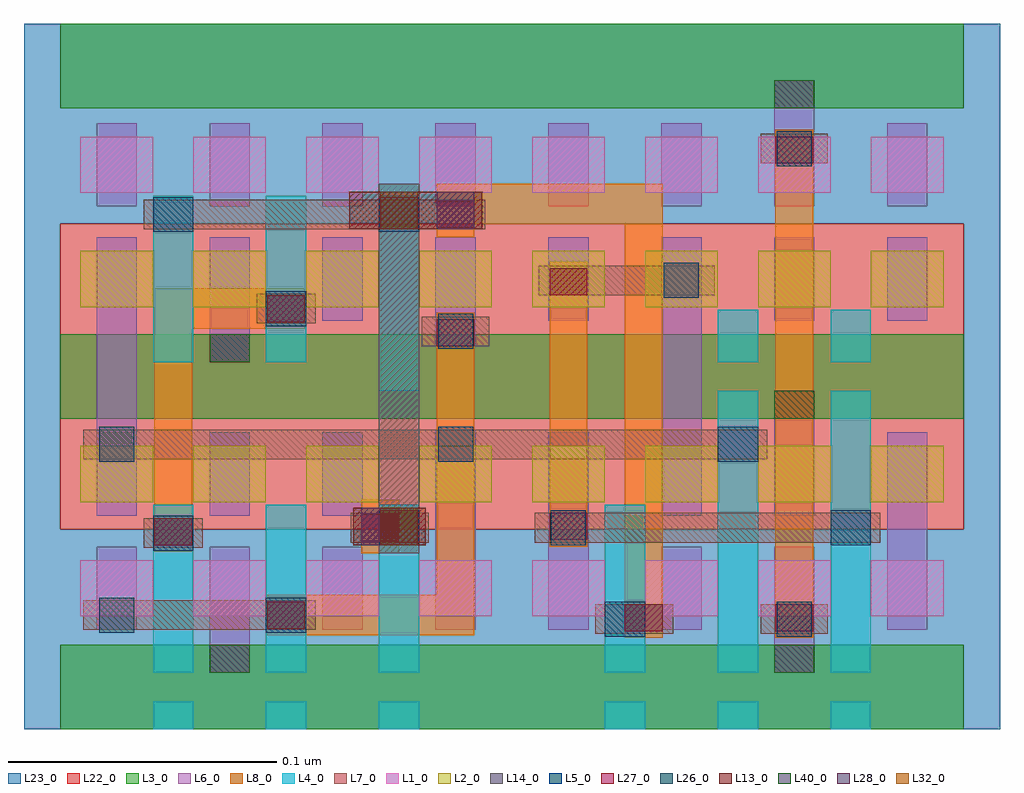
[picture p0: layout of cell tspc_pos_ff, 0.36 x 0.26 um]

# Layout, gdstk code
import gdstk
lib = gdstk.Library(unit=1e-6, precision=2.5e-10)
def R(c, l, rs):  # rectangles x0, y0, x1, y1
    for r in rs: c.add(gdstk.rectangle(r[:2], r[2:], *l))
def A(c, l, x, y, w, h, nx, ny, dx, dy):  # array of equal rectangles
    R(c, l, [(x+i*dx, y+j*dy, x+i*dx+w, y+j*dy+h) for i in range(nx) for j in range(ny)])
def P(c, l, *ps):  # polygons
    for p in ps: c.add(gdstk.Polygon(p, *l))
L1_0 = (1, 0)
L2_0 = (2, 0)
L3_0 = (3, 0)
L4_0 = (4, 0)
L5_0 = (5, 0)
L6_0 = (6, 0)
L7_0 = (7, 0)
L8_0 = (8, 0)
L13_0 = (13, 0)
L14_0 = (14, 0)
L22_0 = (22, 0)
L23_0 = (23, 0)
L26_0 = (26, 0)
L27_0 = (27, 0)
L28_0 = (28, 0)
L32_0 = (32, 0)
L40_0 = (40, 0)

tspc_pos_ff = lib.new_cell('tspc_pos_ff')
A(tspc_pos_ff, L1_0, 0.0075, 0.042, 0.027, 0.021, 8, 2, 0.042, 0.1575)
A(tspc_pos_ff, L2_0, 0.0075, 0.0845, 0.027, 0.021, 8, 2, 0.042, 0.0725)
A(tspc_pos_ff, L3_0, 0, 0, 0.336, 0.0315, 1, 3, 0, 0.1155)
A(tspc_pos_ff, L4_0, 0.0345, 0, 0.015, 0.0105, 3, 1, 0.042, 0)
A(tspc_pos_ff, L4_0, 0.2025, 0, 0.015, 0.0105, 3, 1, 0.042, 0)
A(tspc_pos_ff, L4_0, 0.0345, 0.021, 0.015, 0.0625, 3, 1, 0.042, 0)
R(tspc_pos_ff, L4_0, [(0.2025,0.021,0.2175,0.0835), (0.2445,0.021,0.2595,0.126), (0.2865,0.021,0.3015,0.126), (0.1185,0.126,0.1335,0.1985), (0.0345,0.1365,0.0495,0.1985), (0.0765,0.1365,0.0915,0.1985), (0.2445,0.1365,0.2595,0.156), (0.2865,0.1365,0.3015,0.156)])
R(tspc_pos_ff, L5_0, [(0.2025,0.0345,0.2175,0.0475), (0.0765,0.036,0.0915,0.049), (0.0345,0.0665,0.0495,0.0795), (0.1185,0.0685,0.1335,0.0815), (0.2865,0.0685,0.3015,0.0815), (0.2445,0.0995,0.2595,0.1125), (0.0765,0.15,0.0915,0.163), (0.0345,0.185,0.0495,0.198), (0.1185,0.185,0.1335,0.198)])
A(tspc_pos_ff, L6_0, 0.0975, 0.152, 0.015, 0.031, 3, 1, 0.084, 0)
A(tspc_pos_ff, L6_0, 0.0135, 0.1945, 0.015, 0.031, 6, 1, 0.042, 0)
R(tspc_pos_ff, L6_0, [(0.0555,0.021,0.0705,0.068), (0.2655,0.021,0.2805,0.068), (0.0135,0.037,0.0285,0.068), (0.0975,0.037,0.1125,0.068), (0.1395,0.037,0.1545,0.1115), (0.1815,0.037,0.1965,0.1105), (0.2235,0.037,0.2385,0.068), (0.3075,0.037,0.3225,0.1105), (0.0135,0.0795,0.0285,0.183), (0.0555,0.0795,0.0705,0.1105), (0.0975,0.0795,0.1125,0.1105), (0.2235,0.0795,0.2385,0.183), (0.2655,0.0795,0.2805,0.126), (0.0555,0.1365,0.0705,0.183), (0.1395,0.1425,0.1545,0.183), (0.3075,0.152,0.3225,0.183), (0.2655,0.1945,0.2805,0.2415), (0.3075,0.1945,0.3225,0.2255)])
R(tspc_pos_ff, L7_0, [(0.199,0.0355,0.228,0.0465), (0.2605,0.0355,0.2855,0.0465), (0.0085,0.037,0.095,0.048), (0.031,0.0675,0.053,0.0785), (0.108,0.0695,0.137,0.0805), (0.1765,0.0695,0.305,0.0805), (0.0085,0.1005,0.263,0.1115), (0.1345,0.1425,0.1595,0.1535), (0.073,0.151,0.095,0.162), (0.178,0.1615,0.2435,0.1725), (0.031,0.186,0.158,0.197), (0.2605,0.2105,0.2855,0.2215)])
R(tspc_pos_ff, L8_0, [(0.266,0.034,0.28,0.223), (0.112,0.0655,0.126,0.0855), (0.182,0.068,0.196,0.174)])
P(tspc_pos_ff, L8_0, [(0.224,0.203),(0.224,0.034),(0.21,0.034),(0.21,0.188),(0.154,0.188),(0.154,0.183),(0.14,0.183),(0.14,0.203)],
  [(0.154,0.155),(0.154,0.035),(0.077,0.035),(0.077,0.05),(0.14,0.05),(0.14,0.155)],
  [(0.091,0.164),(0.091,0.149),(0.049,0.149),(0.049,0.066),(0.035,0.066),(0.035,0.164)])
R(tspc_pos_ff, L13_0, [(0.109,0.0685,0.136,0.0825), (0.1075,0.186,0.157,0.2)])
R(tspc_pos_ff, L14_0, [(0.1185,0.0655,0.1335,0.203)])
R(tspc_pos_ff, L22_0, [(0,0.0745,0.336,0.188)])
P(tspc_pos_ff, L23_0, [(0.3495,0.2625),(0.3495,0.188),(0,0.188),(0,0.0745),(0.336,0.0745),(0.336,0.188),(0.3495,0.188),(0.3495,0),(-0.0135,0),(-0.0135,0.2625)])
R(tspc_pos_ff, L26_0, [(0.2665,0.0345,0.2795,0.0475), (0.0145,0.036,0.0275,0.049), (0.1825,0.0685,0.1955,0.0815), (0.0145,0.0995,0.0275,0.1125), (0.1405,0.0995,0.1535,0.1125), (0.1405,0.1415,0.1535,0.1545), (0.2245,0.1605,0.2375,0.1735), (0.2665,0.2095,0.2795,0.2225)])
R(tspc_pos_ff, L27_0, [(0.21,0.0365,0.224,0.0465), (0.266,0.0365,0.28,0.0465), (0.077,0.0375,0.091,0.0475), (0.035,0.0685,0.049,0.0785), (0.112,0.07,0.126,0.08), (0.182,0.0705,0.196,0.0805), (0.14,0.1425,0.154,0.1525), (0.077,0.1515,0.091,0.1615), (0.182,0.1615,0.196,0.1715), (0.14,0.1865,0.154,0.1965), (0.266,0.2105,0.28,0.2205)])
R(tspc_pos_ff, L28_0, [(0.112,0.0685,0.126,0.0825), (0.14,0.186,0.154,0.2)])
R(tspc_pos_ff, L32_0, [(0.119,0.0685,0.133,0.0825), (0.119,0.186,0.133,0.2)])
R(tspc_pos_ff, L40_0, [(0.0555,0.021,0.0705,0.0315), (0.2655,0.021,0.2805,0.0315), (0.2655,0.1155,0.2805,0.126), (0.0555,0.1365,0.0705,0.147), (0.2655,0.231,0.2805,0.2415)])

lib.write_gds('tspc_pos_ff.gds')
